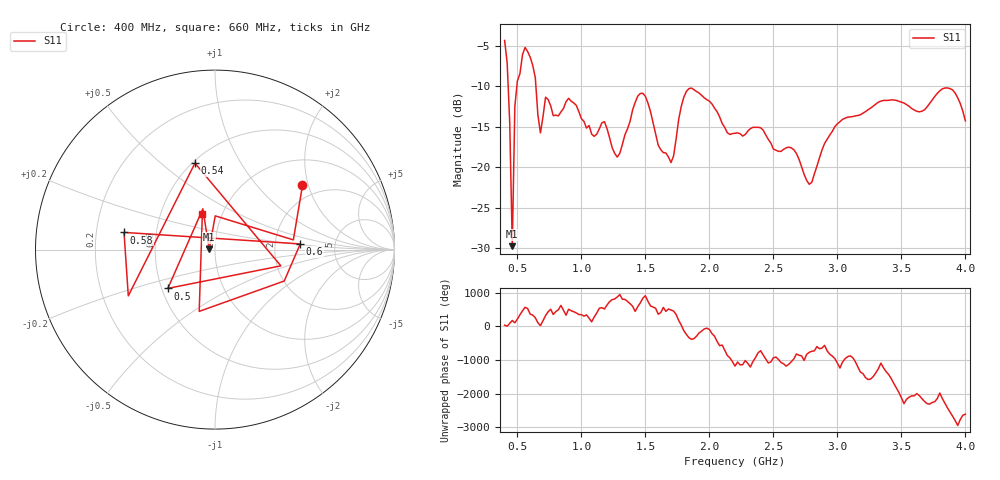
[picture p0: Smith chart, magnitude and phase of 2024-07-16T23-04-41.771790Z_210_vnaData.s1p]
!Created with skrf (http://scikit-rf.org).
# Hz S RI R 50.0
!freq ReS11 ImS11
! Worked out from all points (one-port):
!   181 points, 400 MHz to 4 GHz, reference 50 ohm
!   lowest |S11| = -29.8 dB at 460 MHz (marker M1), VSWR 1.07, Z = 46.9 + j0.191 ohm
!   |S11| at or under -10 dB: 427.8 MHz to 496 MHz (68.2 MHz wide, 14.8 % of centre); 644.4 MHz to end of sweep
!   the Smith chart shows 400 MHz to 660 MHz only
!   S11 on the Smith chart (normalised r, x): 400 MHz: 1.63, +1.83; 500 MHz: 0.54, -0.26; 540 MHz: 0.51, +0.66; 580 MHz: 0.32, +0.08; 600 MHz: 2.80, +0.23; 660 MHz: 0.81, +0.33
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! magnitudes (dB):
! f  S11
! 400 MHz  -4.4
! 420 MHz  -7.1
! 440 MHz  -14.5
! 460 MHz  -29.8
! 480 MHz  -12.5
! 500 MHz  -9.4
! 540 MHz  -6.1
! 580 MHz  -5.7
! 600 MHz  -6.4
! 640 MHz  -9.0
! 660 MHz  -13.6
! 680 MHz  -15.8
! 720 MHz  -11.4
! 860 MHz  -12.8
! 1.1 GHz  -16.2
! 1.18 GHz  -14.4
! 1.3 GHz  -18.3
! 1.46 GHz  -10.9
! 1.7 GHz  -19.5
! 1.76 GHz  -14.1
! 1.86 GHz  -10.3
! 2.2 GHz  -15.8
! 2.66 GHz  -17.9
! 2.78 GHz  -22.1
! 3.1 GHz  -13.8
! 3.56 GHz  -12.5
! 3.88 GHz  -10.3
! 4 GHz  -14.3
